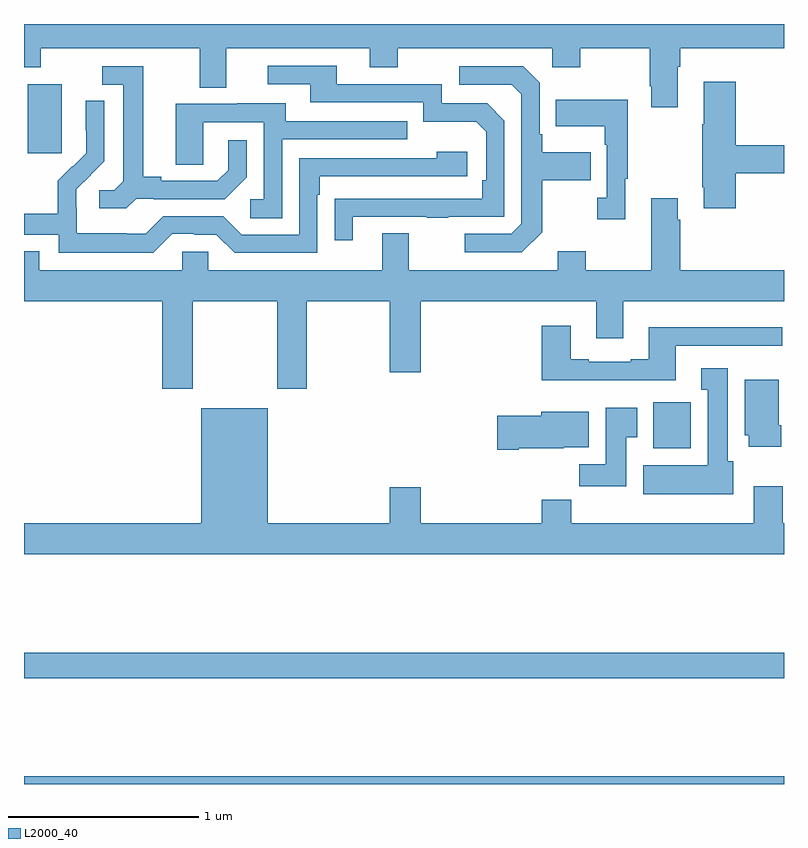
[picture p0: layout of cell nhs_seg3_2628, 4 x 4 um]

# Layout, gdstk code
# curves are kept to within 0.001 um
import gdstk
lib = gdstk.Library(unit=1e-6, precision=1e-09)
def R(c, l, rs):  # rectangles x0, y0, x1, y1
    for r in rs: c.add(gdstk.rectangle(r[:2], r[2:], *l))
def P(c, l, *ps):  # polygons
    for p in ps: c.add(gdstk.Polygon(p, *l))
L2000_40 = (2000, 40)

nhs_seg3_2628 = lib.new_cell('nhs_seg3_2628')
R(nhs_seg3_2628, L2000_40, [(247,674.4,251,674.44), (247,674.956,251,675.092), (250.313,676.166,250.51,676.408), (247.019,677.721,247.198,678.082)])
P(nhs_seg3_2628, L2000_40, [(247,678.173),(247.089,678.173),(247.089,678.272),(247.925,678.272),(247.925,678.064),(248.065,678.064),(248.065,678.272),(248.819,678.272),(248.819,678.173),(248.967,678.173),(248.967,678.272),(249.78,678.272),(249.78,678.173),(249.927,678.173),(249.927,678.272),(250.294,678.272),(250.294,678.073),(250.301,678.073),(250.301,677.961),(250.441,677.961),(250.441,678.176),(250.454,678.176),(250.454,678.272),(251,678.272),(251,678.4),(247,678.4)],
  [(248.731,677.385),(249.121,677.385),(249.121,677.38),(249.233,677.38),(249.233,677.385),(249.528,677.385),(249.528,677.892),(249.438,677.982),(249.198,677.982),(249.198,678.084),(248.647,678.084),(248.647,678.18),(248.283,678.18),(248.283,678.084),(248.507,678.084),(248.507,677.988),(249.102,677.988),(249.102,677.885),(249.379,677.885),(249.432,677.832),(249.432,677.578),(249.412,677.578),(249.412,677.481),(248.635,677.48),(248.635,677.262),(248.731,677.262)],
  [(249.727,677.305),(249.727,677.578),(249.983,677.578),(249.983,677.725),(249.727,677.725),(249.727,677.821),(249.714,677.821),(249.714,678.09),(249.627,678.177),(249.291,678.177),(249.291,678.081),(249.567,678.081),(249.618,678.03),(249.618,677.349),(249.564,677.295),(249.321,677.295),(249.321,677.199),(249.621,677.199)],
  [(247.59,677.481),(247.684,677.481),(247.684,677.478),(248.056,677.478),(248.172,677.594),(248.172,677.788),(248.075,677.788),(248.075,677.631),(248.018,677.574),(247.723,677.574),(247.723,677.597),(247.627,677.597),(247.627,678.177),(247.413,678.177),(247.413,678.081),(247.523,678.081),(247.523,677.573),(247.476,677.526),(247.395,677.526),(247.395,677.429),(247.538,677.429)],
  [(250.745,677.615),(251,677.615),(251,677.762),(250.745,677.762),(250.745,678.097),(250.577,678.097),(250.577,677.873),(250.57,677.873),(250.57,677.542),(250.577,677.542),(250.577,677.43),(250.745,677.43)],
  [(250.165,677.585),(250.177,677.585),(250.177,678.001),(249.799,678.001),(249.799,677.861),(250.056,677.861),(250.056,677.765),(250.068,677.765),(250.068,677.486),(250.017,677.486),(250.017,677.373),(250.165,677.373)],
  [(247.779,677.295),(247.895,677.295),(247.895,677.292),(248.013,677.292),(248.109,677.196),(248.544,677.196),(248.544,677.501),(248.557,677.501),(248.557,677.598),(249.334,677.598),(249.334,677.728),(249.173,677.728),(249.173,677.694),(248.448,677.694),(248.448,677.292),(248.145,677.292),(248.049,677.388),(247.734,677.388),(247.641,677.295),(247.541,677.295),(247.541,677.299),(247.278,677.299),(247.278,677.433),(247.276,677.433),(247.276,677.53),(247.422,677.678),(247.422,677.996),(247.326,677.996),(247.326,677.842),(247.328,677.842),(247.328,677.72),(247.257,677.649),(247.254,677.652),(247.177,677.575),(247.177,677.401),(247,677.401),(247,677.292),(247.182,677.292),(247.182,677.195),(247.679,677.195)],
  [(248.358,677.793),(249.017,677.793),(249.017,677.889),(248.377,677.889),(248.377,677.983),(248.123,677.983),(248.123,677.979),(247.799,677.979),(247.799,677.659),(247.944,677.659),(247.944,677.883),(248.262,677.883),(248.262,677.478),(248.19,677.478),(248.19,677.377),(248.358,677.377)],
  [(247.887,676.94),(248.332,676.94),(248.332,676.479),(248.487,676.479),(248.487,676.94),(248.924,676.94),(248.924,676.566),(249.088,676.566),(249.088,676.94),(250.013,676.94),(250.013,676.746),(250.153,676.746),(250.153,676.94),(251,676.94),(251,677.104),(250.454,677.104),(250.454,677.369),(250.441,677.369),(250.441,677.482),(250.301,677.482),(250.301,677.104),(249.957,677.104),(249.957,677.203),(249.809,677.203),(249.809,677.104),(249.025,677.104),(249.025,677.299),(248.885,677.299),(248.885,677.104),(247.971,677.104),(247.971,677.202),(247.833,677.202),(247.833,677.104),(247.081,677.104),(247.081,677.203),(247,677.203),(247,676.94),(247.727,676.94),(247.727,676.479),(247.887,676.479)],
  [(250.429,676.707),(250.99,676.707),(250.99,676.804),(250.289,676.804),(250.289,676.636),(250.193,676.636),(250.193,676.623),(249.973,676.623),(249.973,676.636),(249.877,676.636),(249.877,676.813),(249.725,676.813),(249.725,676.526),(250.429,676.526)],
  [(250.732,676.098),(250.705,676.098),(250.705,676.588),(250.565,676.588),(250.565,676.475),(250.598,676.475),(250.598,676.078),(250.259,676.078),(250.259,675.926),(250.732,675.926)],
  [(250.985,676.288),(250.972,676.288),(250.972,676.528),(250.793,676.528),(250.793,676.236),(250.814,676.236),(250.814,676.176),(250.985,676.176)],
  [(250.171,676.225),(250.228,676.225),(250.228,676.381),(250.061,676.381),(250.061,676.084),(249.922,676.084),(249.922,675.966),(250.171,675.966)],
  [(249.604,676.166),(249.84,676.166),(249.84,676.172),(249.973,676.172),(249.973,676.36),(249.722,676.36),(249.722,676.337),(249.492,676.337),(249.492,676.159),(249.604,676.159)],
  [(250.841,675.967),(250.841,675.772),(249.881,675.772),(249.881,675.896),(249.725,675.896),(249.725,675.772),(249.088,675.772),(249.088,675.961),(248.924,675.961),(248.924,675.772),(248.284,675.772),(248.284,676.378),(247.934,676.378),(247.934,675.772),(247,675.772),(247,675.608),(251,675.608),(251,675.772),(250.994,675.772),(250.994,675.967)])

lib.write_gds('nhs_seg3_2628.gds')
